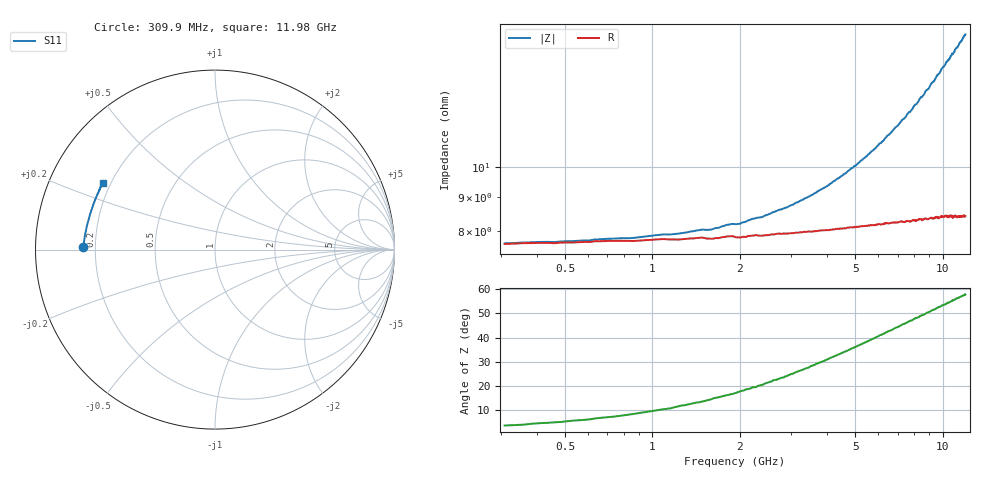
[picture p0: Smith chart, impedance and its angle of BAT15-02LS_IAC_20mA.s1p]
! Infineon Technologies  Discrete & RF Semiconductors
! BAT15-02ELS
! IAC = 20 mA
! One-Port S-Parameters
# Hz  S  MA  R  50
!f  S11
!Hz  Mag  Ang
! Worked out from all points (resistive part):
!   468 points, 309.9 MHz to 11.98 GHz, reference 50 ohm
!   read as one part to ground: R = 7.68 ohm at 359.8 MHz
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3.0985e8  0.7343 178.9
1.784112e9  0.729 174.7
2.033988e9  0.7294 174.0
3.233388e9  0.7262 170.7
4.70765e9  0.724 166.9
6.156925e9  0.7232 163.3
7.6062e9  0.7229 159.6
7.831088e9  0.7233 159.2
8.030988e9  0.7227 158.6
8.2059e9  0.7232 158.2
8.380812e9  0.7228 157.8
8.6057e9  0.7234 157.3
8.780612e9  0.7231 156.7
8.930538e9  0.7237 156.5
9.080462e9  0.7232 156.1
9.730138e9  0.7242 154.6
9.980012e9  0.7239 153.8
1.017991e10  0.7244 153.4
1.032984e10  0.7248 153.1
1.052974e10  0.7252 152.6
1.077961e10  0.7254 151.9
1.095452e10  0.7265 151.7
1.112944e10  0.7262 151.1
1.130435e10  0.7271 150.8
1.145428e10  0.727 150.4
1.167916e10  0.7279 149.9
1.187906e10  0.7281 149.4
1.197901e10  0.7284 149.2
